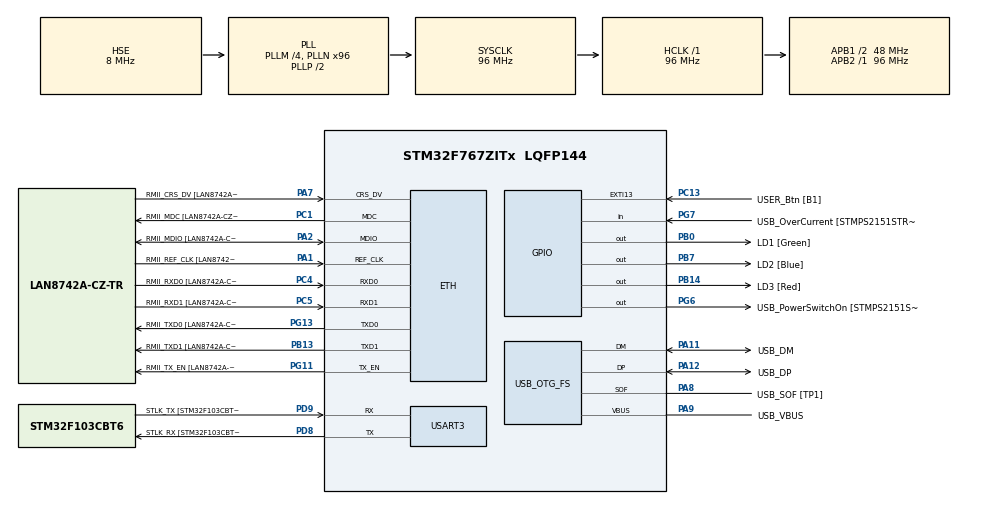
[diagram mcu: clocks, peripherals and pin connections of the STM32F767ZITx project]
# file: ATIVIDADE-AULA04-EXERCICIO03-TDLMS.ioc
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ETH.MediaInterface=HAL_ETH_RMII_MODE
ETH.PHY_Name=LAN8742A_PHY_ADDRESS
ETH.PHY_Value=0
ETH.PhyAddress=0
FREERTOS.CountingSemaphores01=MeuSemaforoCont,2,Dynamic,NULL,2
FREERTOS.Tasks01=vTask01,24,128,vTask01_Def,Default,NULL,Dynamic,NULL,NULL;vTask02,24,128,vTask02_Def,Default,NULL,Dynamic,NULL,NULL;vTask03,24,128,vTask03_Def,Default,NULL,Dynamic,NULL,NULL
FREERTOS.configUSE_NEWLIB_REENTRANT=1
Mcu.Family=STM32F7
Mcu.Name=STM32F767ZITx
Mcu.Package=LQFP144
NVIC.PriorityGroup=NVIC_PRIORITYGROUP_4
NVIC.TIM1_UP_TIM10_IRQn=true\:15\:0\:false\:false\:true\:false\:false\:true\:true
NVIC.TimeBase=TIM1_UP_TIM10_IRQn
NVIC.TimeBaseIP=TIM1
PA1.GPIO_Label=RMII_REF_CLK [LAN8742A-CZ-TR_REFCLK0]
PA1.Mode=RMII
PA1.Signal=ETH_REF_CLK
PA10.GPIO_Label=USB_ID
PA10.Signal=USB_OTG_FS_ID
PA11.GPIO_Label=USB_DM
PA11.Mode=Device_Only
PA11.Signal=USB_OTG_FS_DM
PA12.GPIO_Label=USB_DP
PA12.Mode=Device_Only
PA12.Signal=USB_OTG_FS_DP
PA13.GPIO_Label=TMS
PA13.Mode=Serial_Wire
PA13.Signal=SYS_JTMS-SWDIO
PA14.GPIO_Label=TCK
PA14.Mode=Serial_Wire
PA14.Signal=SYS_JTCK-SWCLK
PA2.GPIO_Label=RMII_MDIO [LAN8742A-CZ-TR_MDIO]
PA2.Mode=RMII
PA2.Signal=ETH_MDIO
PA7.GPIO_Label=RMII_CRS_DV [LAN8742A-CZ-TR_CRS_DV]
PA7.Mode=RMII
PA7.Signal=ETH_CRS_DV
PA8.GPIO_Label=USB_SOF [TP1]
PA8.Mode=Activate_SOF_FS
PA8.Signal=USB_OTG_FS_SOF
PA9.GPIO_Label=USB_VBUS
PA9.Mode=Activate_VBUS
PA9.Signal=USB_OTG_FS_VBUS
PB0.GPIO_Label=LD1 [Green]
PB0.Signal=GPIO_Output
PB13.GPIO_Label=RMII_TXD1 [LAN8742A-CZ-TR_TXD1]
PB13.Mode=RMII
PB13.Signal=ETH_TXD1
PB14.GPIO_Label=LD3 [Red]
PB14.Signal=GPIO_Output
PB3.GPIO_Label=SWO
PB3.Signal=SYS_JTDO-SWO
PB7.GPIO_Label=LD2 [Blue]
PB7.Signal=GPIO_Output
PC1.GPIO_Label=RMII_MDC [LAN8742A-CZ-TR_MDC]
PC1.Mode=RMII
PC1.Signal=ETH_MDC
PC13.GPIO_Label=USER_Btn [B1]
PC13.Signal=GPXTI13
PC14/OSC32_IN.Mode=LSE-External-Oscillator
PC14/OSC32_IN.Signal=RCC_OSC32_IN
PC15/OSC32_OUT.Mode=LSE-External-Oscillator
PC15/OSC32_OUT.Signal=RCC_OSC32_OUT
PC4.GPIO_Label=RMII_RXD0 [LAN8742A-CZ-TR_RXD0]
PC4.Mode=RMII
PC4.Signal=ETH_RXD0
PC5.GPIO_Label=RMII_RXD1 [LAN8742A-CZ-TR_RXD1]
PC5.Mode=RMII
PC5.Signal=ETH_RXD1
PD8.GPIO_Label=STLK_RX [STM32F103CBT6_PA3]
PD8.Mode=Asynchronous
PD8.Signal=USART3_TX
PD9.GPIO_Label=STLK_TX [STM32F103CBT6_PA2]
PD9.Mode=Asynchronous
PD9.Signal=USART3_RX
PG11.GPIO_Label=RMII_TX_EN [LAN8742A-CZ-TR_TXEN]
PG11.Mode=RMII
PG11.Signal=ETH_TX_EN
PG13.GPIO_Label=RMII_TXD0 [LAN8742A-CZ-TR_TXD0]
PG13.Mode=RMII
PG13.Signal=ETH_TXD0
PG6.GPIO_Label=USB_PowerSwitchOn [STMPS2151STR_EN]
PG6.Signal=GPIO_Output
PG7.GPIO_Label=USB_OverCurrent [STMPS2151STR_FAULT]
PG7.Signal=GPIO_Input
PH0/OSC_IN.GPIO_Label=MCO [STM32F103CBT6_PA8]
PH0/OSC_IN.Mode=HSE-External-Clock-Source
PH0/OSC_IN.Signal=RCC_OSC_IN
PH1/OSC_OUT.Mode=HSE-External-Clock-Source
PH1/OSC_OUT.Signal=RCC_OSC_OUT
ProjectManager.HeapSize=0x200
ProjectManager.StackSize=0x400
ProjectManager.TargetToolchain=STM32CubeIDE
RCC.48MHZClocksFreq_Value=24000000
RCC.AHBFreq_Value=96000000
RCC.APB1CLKDivider=RCC_HCLK_DIV2
RCC.APB1Freq_Value=48000000
RCC.APB1TimFreq_Value=96000000
RCC.APB2Freq_Value=96000000
RCC.APB2TimFreq_Value=96000000
RCC.CortexFreq_Value=96000000
RCC.HCLKFreq_Value=96000000
RCC.HSE_VALUE=8000000
RCC.HSI_VALUE=16000000
RCC.PLLM=4
RCC.PLLMUL=RCC_PLL_MUL9
RCC.PLLN=96
RCC.PLLQ=4
RCC.PRESCALERUSB=RCC_USBCLKSOURCE_PLL_DIV1_5
RCC.SYSCLKFreq_VALUE=96000000
RCC.SYSCLKSource=RCC_SYSCLKSOURCE_PLLCLK
RCC.SYSCLKSourceVirtual=RCC_SYSCLKSOURCE_PLLCLK
RCC.USBFreq_Value=48000000
RCC.VCOOutputFreq_Value=192000000
USART3.VirtualMode-Asynchronous=VM_ASYNC
USB_OTG_FS.VirtualMode=Device_Only
VP_FREERTOS_VS_CMSIS_V2.Mode=CMSIS_V2
VP_SYS_VS_tim1.Mode=TIM1
board=NUCLEO-F767ZI

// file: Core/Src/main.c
/* USER CODE BEGIN Header */
/**
  ******************************************************************************
  * @file           : main.c
  * @brief          : Main program body
  ******************************************************************************
  * @attention
  *
  * Copyright (c) 2025 STMicroelectronics.
  * All rights reserved.
  *
  * This software is licensed under terms that can be found in the LICENSE file
  * in the root directory of this software component.
  * If no LICENSE file comes with this software, it is provided AS-IS.
  *
  ******************************************************************************
  */
/* USER CODE END Header */
#include "main.h"
#include "string.h"
#include "cmsis_os.h"

/* USER CODE BEGIN Includes */

#include <stdio.h>

/* USER CODE END Includes */

#if defined ( __ICCARM__ ) /*!< IAR Compiler */
#pragma location=0x2007c000
ETH_DMADescTypeDef  DMARxDscrTab[ETH_RX_DESC_CNT]; /* Ethernet Rx DMA Descriptors */
#pragma location=0x2007c0a0
ETH_DMADescTypeDef  DMATxDscrTab[ETH_TX_DESC_CNT]; /* Ethernet Tx DMA Descriptors */

#elif defined ( __CC_ARM )  /* MDK ARM Compiler */

__attribute__((at(0x2007c000))) ETH_DMADescTypeDef  DMARxDscrTab[ETH_RX_DESC_CNT]; /* Ethernet Rx DMA Descriptors */
__attribute__((at(0x2007c0a0))) ETH_DMADescTypeDef  DMATxDscrTab[ETH_TX_DESC_CNT]; /* Ethernet Tx DMA Descriptors */

#elif defined ( __GNUC__ ) /* GNU Compiler */

ETH_DMADescTypeDef DMARxDscrTab[ETH_RX_DESC_CNT] __attribute__((section(".RxDecripSection"))); /* Ethernet Rx DMA Descriptors */
ETH_DMADescTypeDef DMATxDscrTab[ETH_TX_DESC_CNT] __attribute__((section(".TxDecripSection")));   /* Ethernet Tx DMA Descriptors */
#endif

ETH_TxPacketConfig TxConfig;

ETH_HandleTypeDef heth;

UART_HandleTypeDef huart3;

PCD_HandleTypeDef hpcd_USB_OTG_FS;

/* Definitions for vTask01 */
osThreadId_t vTask01Handle;
const osThreadAttr_t vTask01_attributes = {
  .name = "vTask01",
  .stack_size = 128 * 4,
  .priority = (osPriority_t) osPriorityNormal,
};
/* Definitions for vTask02 */
osThreadId_t vTask02Handle;
const osThreadAttr_t vTask02_attributes = {
  .name = "vTask02",
  .stack_size = 128 * 4,
  .priority = (osPriority_t) osPriorityNormal,
};
/* Definitions for vTask03 */
osThreadId_t vTask03Handle;
const osThreadAttr_t vTask03_attributes = {
  .name = "vTask03",
  .stack_size = 128 * 4,
  .priority = (osPriority_t) osPriorityNormal,
};
/* Definitions for MeuSemaforoCont */
osSemaphoreId_t MeuSemaforoContHandle;
const osSemaphoreAttr_t MeuSemaforoCont_attributes = {
  .name = "MeuSemaforoCont"
};
/* USER CODE BEGIN PV */

uint8_t contadorSemarofoContador = 0;

/* USER CODE END PV */

void SystemClock_Config(void);
static void MX_GPIO_Init(void);
static void MX_ETH_Init(void);
static void MX_USART3_UART_Init(void);
static void MX_USB_OTG_FS_PCD_Init(void);
void vTask01_Def(void *argument);
void vTask02_Def(void *argument);
void vTask03_Def(void *argument);

int main(void)
{

  /* MCU Configuration--------------------------------------------------------*/

  /* Reset of all peripherals, Initializes the Flash interface and the Systick. */
  HAL_Init();

  /* Configure the system clock */
  SystemClock_Config();

  /* Initialize all configured peripherals */
  MX_GPIO_Init();
  MX_ETH_Init();
  MX_USART3_UART_Init();
  MX_USB_OTG_FS_PCD_Init();

  /* Init scheduler */
  osKernelInitialize();

  /* Create the semaphores(s) */
  /* creation of MeuSemaforoCont */
  MeuSemaforoContHandle = osSemaphoreNew(2, 2, &MeuSemaforoCont_attributes);

  /* Create the thread(s) */
  /* creation of vTask01 */
  vTask01Handle = osThreadNew(vTask01_Def, NULL, &vTask01_attributes);

  /* creation of vTask02 */
  vTask02Handle = osThreadNew(vTask02_Def, NULL, &vTask02_attributes);

  /* creation of vTask03 */
  vTask03Handle = osThreadNew(vTask03_Def, NULL, &vTask03_attributes);

  /* Start scheduler */
  osKernelStart();

  /* We should never get here as control is now taken by the scheduler */

  /* Infinite loop */
  while (1)
  {

  }
}

void SystemClock_Config(void)
{
  RCC_OscInitTypeDef RCC_OscInitStruct = {0};
  RCC_ClkInitTypeDef RCC_ClkInitStruct = {0};

  /** Configure LSE Drive Capability
  */
  HAL_PWR_EnableBkUpAccess();

  /** Configure the main internal regulator output voltage
  */
  __HAL_RCC_PWR_CLK_ENABLE();
  __HAL_PWR_VOLTAGESCALING_CONFIG(PWR_REGULATOR_VOLTAGE_SCALE3);

  /** Initializes the RCC Oscillators according to the specified parameters
  * in the RCC_OscInitTypeDef structure.
  */
  RCC_OscInitStruct.OscillatorType = RCC_OSCILLATORTYPE_HSE;
  RCC_OscInitStruct.HSEState = RCC_HSE_BYPASS;
  RCC_OscInitStruct.PLL.PLLState = RCC_PLL_ON;
  RCC_OscInitStruct.PLL.PLLSource = RCC_PLLSOURCE_HSE;
  RCC_OscInitStruct.PLL.PLLM = 4;
  RCC_OscInitStruct.PLL.PLLN = 96;
  RCC_OscInitStruct.PLL.PLLP = RCC_PLLP_DIV2;
  RCC_OscInitStruct.PLL.PLLQ = 4;
  RCC_OscInitStruct.PLL.PLLR = 2;
  if (HAL_RCC_OscConfig(&RCC_OscInitStruct) != HAL_OK)
  {
    Error_Handler();
  }

  /** Activate the Over-Drive mode
  */
  if (HAL_PWREx_EnableOverDrive() != HAL_OK)
  {
    Error_Handler();
  }

  /** Initializes the CPU, AHB and APB buses clocks
  */
  RCC_ClkInitStruct.ClockType = RCC_CLOCKTYPE_HCLK|RCC_CLOCKTYPE_SYSCLK
                              |RCC_CLOCKTYPE_PCLK1|RCC_CLOCKTYPE_PCLK2;
  RCC_ClkInitStruct.SYSCLKSource = RCC_SYSCLKSOURCE_PLLCLK;
  RCC_ClkInitStruct.AHBCLKDivider = RCC_SYSCLK_DIV1;
  RCC_ClkInitStruct.APB1CLKDivider = RCC_HCLK_DIV2;
  RCC_ClkInitStruct.APB2CLKDivider = RCC_HCLK_DIV1;

  if (HAL_RCC_ClockConfig(&RCC_ClkInitStruct, FLASH_LATENCY_3) != HAL_OK)
  {
    Error_Handler();
  }
}

static void MX_ETH_Init(void)
{

   static uint8_t MACAddr[6];

  heth.Instance = ETH;
  MACAddr[0] = 0x00;
  MACAddr[1] = 0x80;
  MACAddr[2] = 0xE1;
  MACAddr[3] = 0x00;
  MACAddr[4] = 0x00;
  MACAddr[5] = 0x00;
  heth.Init.MACAddr = &MACAddr[0];
  heth.Init.MediaInterface = HAL_ETH_RMII_MODE;
  heth.Init.TxDesc = DMATxDscrTab;
  heth.Init.RxDesc = DMARxDscrTab;
  heth.Init.RxBuffLen = 1524;

  if (HAL_ETH_Init(&heth) != HAL_OK)
  {
    Error_Handler();
  }

  memset(&TxConfig, 0 , sizeof(ETH_TxPacketConfig));
  TxConfig.Attributes = ETH_TX_PACKETS_FEATURES_CSUM | ETH_TX_PACKETS_FEATURES_CRCPAD;
  TxConfig.ChecksumCtrl = ETH_CHECKSUM_IPHDR_PAYLOAD_INSERT_PHDR_CALC;
  TxConfig.CRCPadCtrl = ETH_CRC_PAD_INSERT;

}

static void MX_USART3_UART_Init(void)
{

  huart3.Instance = USART3;
  huart3.Init.BaudRate = 115200;
  huart3.Init.WordLength = UART_WORDLENGTH_8B;
  huart3.Init.StopBits = UART_STOPBITS_1;
  huart3.Init.Parity = UART_PARITY_NONE;
  huart3.Init.Mode = UART_MODE_TX_RX;
  huart3.Init.HwFlowCtl = UART_HWCONTROL_NONE;
  huart3.Init.OverSampling = UART_OVERSAMPLING_16;
  huart3.Init.OneBitSampling = UART_ONE_BIT_SAMPLE_DISABLE;
  huart3.AdvancedInit.AdvFeatureInit = UART_ADVFEATURE_NO_INIT;
  if (HAL_UART_Init(&huart3) != HAL_OK)
  {
    Error_Handler();
  }

}

static void MX_USB_OTG_FS_PCD_Init(void)
{

  hpcd_USB_OTG_FS.Instance = USB_OTG_FS;
  hpcd_USB_OTG_FS.Init.dev_endpoints = 6;
  hpcd_USB_OTG_FS.Init.speed = PCD_SPEED_FULL;
  hpcd_USB_OTG_FS.Init.dma_enable = DISABLE;
  hpcd_USB_OTG_FS.Init.phy_itface = PCD_PHY_EMBEDDED;
  hpcd_USB_OTG_FS.Init.Sof_enable = ENABLE;
  hpcd_USB_OTG_FS.Init.low_power_enable = DISABLE;
  hpcd_USB_OTG_FS.Init.lpm_enable = DISABLE;
  hpcd_USB_OTG_FS.Init.vbus_sensing_enable = ENABLE;
  hpcd_USB_OTG_FS.Init.use_dedicated_ep1 = DISABLE;
  if (HAL_PCD_Init(&hpcd_USB_OTG_FS) != HAL_OK)
  {
    Error_Handler();
  }

}

static void MX_GPIO_Init(void)
{
  GPIO_InitTypeDef GPIO_InitStruct = {0};

  /* GPIO Ports Clock Enable */
  __HAL_RCC_GPIOC_CLK_ENABLE();
  __HAL_RCC_GPIOH_CLK_ENABLE();
  __HAL_RCC_GPIOA_CLK_ENABLE();
  __HAL_RCC_GPIOB_CLK_ENABLE();
  __HAL_RCC_GPIOD_CLK_ENABLE();
  __HAL_RCC_GPIOG_CLK_ENABLE();

  /*Configure GPIO pin Output Level */
  HAL_GPIO_WritePin(GPIOB, LD1_Pin|LD3_Pin|LD2_Pin, GPIO_PIN_RESET);

  /*Configure GPIO pin Output Level */
  HAL_GPIO_WritePin(USB_PowerSwitchOn_GPIO_Port, USB_PowerSwitchOn_Pin, GPIO_PIN_RESET);

  /*Configure GPIO pin : USER_Btn_Pin */
  GPIO_InitStruct.Pin = USER_Btn_Pin;
  GPIO_InitStruct.Mode = GPIO_MODE_IT_RISING;
  GPIO_InitStruct.Pull = GPIO_NOPULL;
  HAL_GPIO_Init(USER_Btn_GPIO_Port, &GPIO_InitStruct);

  /*Configure GPIO pins : LD1_Pin LD3_Pin LD2_Pin */
  GPIO_InitStruct.Pin = LD1_Pin|LD3_Pin|LD2_Pin;
  GPIO_InitStruct.Mode = GPIO_MODE_OUTPUT_PP;
  GPIO_InitStruct.Pull = GPIO_NOPULL;
  GPIO_InitStruct.Speed = GPIO_SPEED_FREQ_LOW;
  HAL_GPIO_Init(GPIOB, &GPIO_InitStruct);

  /*Configure GPIO pin : USB_PowerSwitchOn_Pin */
  GPIO_InitStruct.Pin = USB_PowerSwitchOn_Pin;
  GPIO_InitStruct.Mode = GPIO_MODE_OUTPUT_PP;
  GPIO_InitStruct.Pull = GPIO_NOPULL;
  GPIO_InitStruct.Speed = GPIO_SPEED_FREQ_LOW;
  HAL_GPIO_Init(USB_PowerSwitchOn_GPIO_Port, &GPIO_InitStruct);

  /*Configure GPIO pin : USB_OverCurrent_Pin */
  GPIO_InitStruct.Pin = USB_OverCurrent_Pin;
  GPIO_InitStruct.Mode = GPIO_MODE_INPUT;
  GPIO_InitStruct.Pull = GPIO_NOPULL;
  HAL_GPIO_Init(USB_OverCurrent_GPIO_Port, &GPIO_InitStruct);

}

void vTask01_Def(void *argument)
{
  /* USER CODE BEGIN 5 */
	char mensagem[50];
  /* Infinite loop */
  for(;;)
  {
	//Pegando a contagem do Semáforo
	contadorSemarofoContador = osSemaphoreGetCount(MeuSemaforoContHandle);

	//Solicitando ao semáforo a execução da tarefa
	osSemaphoreAcquire(MeuSemaforoContHandle, osWaitForever);

	sprintf(mensagem, "Contagem do semaforo Task1: %lu\r\n", contadorSemarofoContador);
	HAL_UART_Transmit(&huart3, (uint8_t*)mensagem, strlen(mensagem), HAL_MAX_DELAY);
	osDelay(2000);

	//Liberando o espaço no semáforo para outras tarefas serem executadas
	osSemaphoreRelease(MeuSemaforoContHandle);
  }
  /* USER CODE END 5 */
}

void vTask02_Def(void *argument)
{
  /* USER CODE BEGIN vTask02_Def */
	char mensagem[50];
  /* Infinite loop */
  for(;;)
  {

	if (osSemaphoreGetCount(MeuSemaforoContHandle) > 0) {
		//Pegando a contagem do Semáforo
		contadorSemarofoContador = osSemaphoreGetCount(MeuSemaforoContHandle);

		//Solicitando ao semáforo a execução da tarefa
		osSemaphoreAcquire(MeuSemaforoContHandle, osWaitForever);

		sprintf(mensagem, "Contagem do semaforo Task2: %lu\r\n", contadorSemarofoContador);
		HAL_UART_Transmit(&huart3, (uint8_t*)mensagem, strlen(mensagem), HAL_MAX_DELAY);
		osDelay(2000);

		//Liberando o espaço no semáforo para outras tarefas serem executadas
		osSemaphoreRelease(MeuSemaforoContHandle);
	}
	else if (osSemaphoreGetCount(MeuSemaforoContHandle) == 0) {
		//Liberando Semáforo para uso
		osSemaphoreRelease(MeuSemaforoContHandle);
	}
  }
  /* USER CODE END vTask02_Def */
}

void vTask03_Def(void *argument)
{
  /* USER CODE BEGIN vTask03_Def */
	char mensagem[50];
  /* Infinite loop */
  for(;;)
  {
	//Pegando a contagem do Semáforo
	contadorSemarofoContador = osSemaphoreGetCount(MeuSemaforoContHandle);

	//Solicitando ao semáforo a execução da tarefa
	osSemaphoreAcquire(MeuSemaforoContHandle, osWaitForever);

	sprintf(mensagem, "Contagem do semaforo Task3: %lu\r\n", contadorSemarofoContador);
	HAL_UART_Transmit(&huart3, (uint8_t*)mensagem, strlen(mensagem), HAL_MAX_DELAY);
	osDelay(2000);

	//Liberando o espaço no semáforo para outras tarefas serem executadas
	osSemaphoreRelease(MeuSemaforoContHandle);
  }
  /* USER CODE END vTask03_Def */
}

void HAL_TIM_PeriodElapsedCallback(TIM_HandleTypeDef *htim)
{
  if (htim->Instance == TIM1)
  {
    HAL_IncTick();
  }
}

void Error_Handler(void)
{
  __disable_irq();
  while (1)
  {
  }
}
